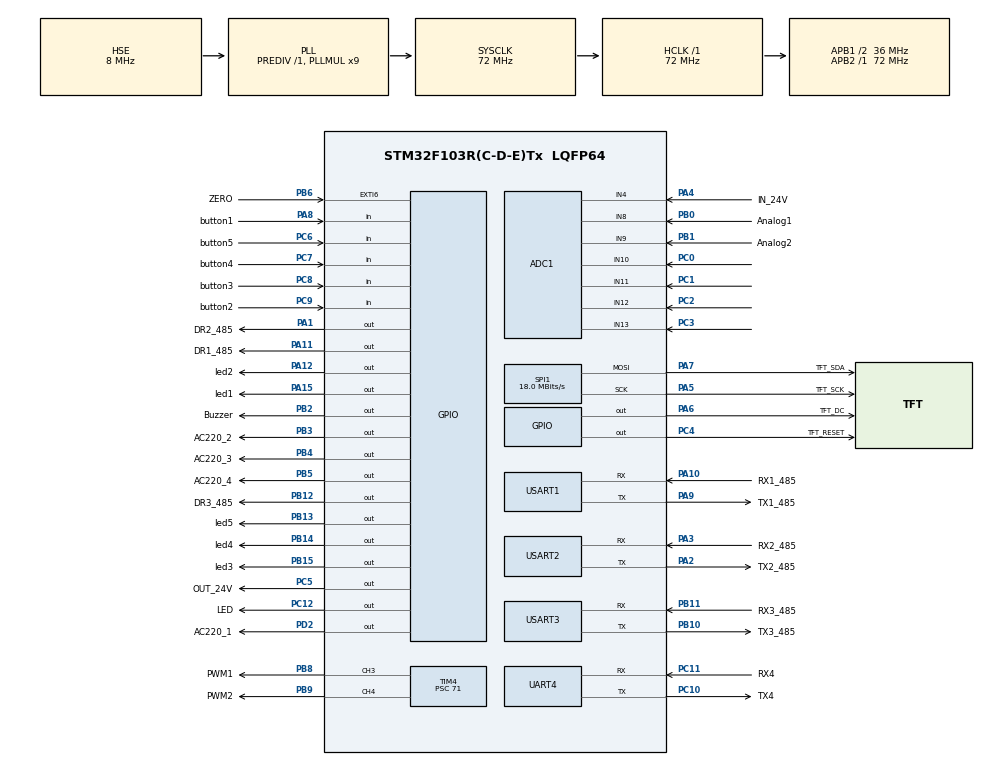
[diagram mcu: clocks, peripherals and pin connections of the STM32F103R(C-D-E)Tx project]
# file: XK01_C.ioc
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ADC1.Channel-0\#ChannelRegularConversion=ADC_CHANNEL_9
ADC1.Channel-1\#ChannelRegularConversion=ADC_CHANNEL_4
ADC1.Channel-2\#ChannelRegularConversion=ADC_CHANNEL_4
ADC1.Channel-3\#ChannelRegularConversion=ADC_CHANNEL_4
ADC1.Channel-4\#ChannelRegularConversion=ADC_CHANNEL_4
ADC1.Channel-5\#ChannelRegularConversion=ADC_CHANNEL_4
ADC1.Channel-6\#ChannelRegularConversion=ADC_CHANNEL_4
ADC1.ContinuousConvMode=DISABLE
ADC1.DiscontinuousConvMode=ENABLE
ADC1.NbrOfConversion=7
ADC1.NbrOfConversionFlag=1
ADC1.Rank-0\#ChannelRegularConversion=1
ADC1.Rank-1\#ChannelRegularConversion=2
ADC1.Rank-2\#ChannelRegularConversion=3
ADC1.Rank-3\#ChannelRegularConversion=4
ADC1.Rank-4\#ChannelRegularConversion=5
ADC1.Rank-5\#ChannelRegularConversion=6
ADC1.Rank-6\#ChannelRegularConversion=7
ADC1.SamplingTime-0\#ChannelRegularConversion=ADC_SAMPLETIME_1CYCLE_5
ADC1.SamplingTime-1\#ChannelRegularConversion=ADC_SAMPLETIME_1CYCLE_5
ADC1.SamplingTime-2\#ChannelRegularConversion=ADC_SAMPLETIME_1CYCLE_5
ADC1.SamplingTime-3\#ChannelRegularConversion=ADC_SAMPLETIME_1CYCLE_5
ADC1.SamplingTime-4\#ChannelRegularConversion=ADC_SAMPLETIME_1CYCLE_5
ADC1.SamplingTime-5\#ChannelRegularConversion=ADC_SAMPLETIME_1CYCLE_5
ADC1.SamplingTime-6\#ChannelRegularConversion=ADC_SAMPLETIME_1CYCLE_5
ADC1.master=1
Dma.Request0=SPI1_TX
Dma.SPI1_TX.0.Direction=DMA_MEMORY_TO_PERIPH
Dma.SPI1_TX.0.Instance=DMA1_Channel3
Dma.SPI1_TX.0.MemDataAlignment=DMA_MDATAALIGN_BYTE
Dma.SPI1_TX.0.MemInc=DMA_MINC_ENABLE
Dma.SPI1_TX.0.Mode=DMA_NORMAL
Dma.SPI1_TX.0.PeriphDataAlignment=DMA_PDATAALIGN_BYTE
Dma.SPI1_TX.0.PeriphInc=DMA_PINC_DISABLE
Dma.SPI1_TX.0.Priority=DMA_PRIORITY_LOW
Mcu.Family=STM32F1
Mcu.Name=STM32F103R(C-D-E)Tx
Mcu.Package=LQFP64
NVIC.ADC1_2_IRQn=true\:0\:0\:false\:false\:true\:true\:true\:true
NVIC.DMA1_Channel3_IRQn=true\:0\:0\:false\:false\:true\:false\:true\:true
NVIC.EXTI9_5_IRQn=true\:0\:0\:false\:false\:true\:true\:true\:true
NVIC.PriorityGroup=NVIC_PRIORITYGROUP_4
NVIC.SPI1_IRQn=true\:0\:0\:false\:false\:true\:true\:true\:true
NVIC.TIM5_IRQn=true\:0\:0\:false\:false\:true\:true\:true\:true
NVIC.TIM6_IRQn=true\:0\:0\:false\:false\:true\:true\:true\:true
NVIC.TIM7_IRQn=true\:0\:0\:false\:false\:true\:true\:true\:true
NVIC.UART4_IRQn=true\:0\:0\:false\:false\:true\:true\:true\:true
NVIC.USART1_IRQn=true\:0\:0\:false\:false\:true\:true\:true\:true
NVIC.USART2_IRQn=true\:0\:0\:false\:false\:true\:true\:true\:true
NVIC.USART3_IRQn=true\:0\:0\:false\:false\:true\:true\:true\:true
PA1.GPIO_Label=DR2_485
PA1.Signal=GPIO_Output
PA10.GPIO_Label=RX1_485
PA10.Mode=Asynchronous
PA10.Signal=USART1_RX
PA11.GPIO_Label=DR1_485
PA11.Signal=GPIO_Output
PA12.GPIO_Label=led2
PA12.Signal=GPIO_Output
PA13.Mode=Serial_Wire
PA13.Signal=SYS_JTMS-SWDIO
PA14.Mode=Serial_Wire
PA14.Signal=SYS_JTCK-SWCLK
PA15.GPIO_Label=led1
PA15.Signal=GPIO_Output
PA2.GPIO_Label=TX2_485
PA2.Mode=Asynchronous
PA2.Signal=USART2_TX
PA3.GPIO_Label=RX2_485
PA3.Mode=Asynchronous
PA3.Signal=USART2_RX
PA4.GPIO_Label=IN_24V
PA4.Signal=ADCx_IN4
PA5.GPIO_Label=TFT_SCK
PA5.Mode=TX_Only_Simplex_Unidirect_Master
PA5.Signal=SPI1_SCK
PA6.GPIO_Label=TFT_DC
PA6.Signal=GPIO_Output
PA7.GPIO_Label=TFT_SDA
PA7.Mode=TX_Only_Simplex_Unidirect_Master
PA7.Signal=SPI1_MOSI
PA8.GPIO_Label=button1
PA8.Signal=GPIO_Input
PA9.GPIO_Label=TX1_485
PA9.Mode=Asynchronous
PA9.Signal=USART1_TX
PB0.GPIO_Label=Analog1
PB0.Signal=ADCx_IN8
PB1.GPIO_Label=Analog2
PB1.Signal=ADCx_IN9
PB10.GPIO_Label=TX3_485
PB10.Mode=Asynchronous
PB10.Signal=USART3_TX
PB11.GPIO_Label=RX3_485
PB11.Mode=Asynchronous
PB11.Signal=USART3_RX
PB12.GPIO_Label=DR3_485
PB12.Signal=GPIO_Output
PB13.GPIO_Label=led5
PB13.Signal=GPIO_Output
PB14.GPIO_Label=led4
PB14.Signal=GPIO_Output
PB15.GPIO_Label=led3
PB15.Signal=GPIO_Output
PB2.GPIO_Label=Buzzer
PB2.Signal=GPIO_Output
PB3.GPIO_Label=AC220_2
PB3.Signal=GPIO_Output
PB4.GPIO_Label=AC220_3
PB4.Signal=GPIO_Output
PB5.GPIO_Label=AC220_4
PB5.Signal=GPIO_Output
PB6.GPIO_Label=ZERO
PB6.Signal=GPXTI6
PB8.GPIO_Label=PWM1
PB8.Signal=S_TIM4_CH3
PB9.GPIO_Label=PWM2
PB9.Signal=S_TIM4_CH4
PC0.Signal=ADCx_IN10
PC1.Signal=ADCx_IN11
PC10.GPIO_Label=TX4
PC10.Mode=Asynchronous
PC10.Signal=UART4_TX
PC11.GPIO_Label=RX4
PC11.Mode=Asynchronous
PC11.Signal=UART4_RX
PC12.GPIO_Label=LED
PC12.Signal=GPIO_Output
PC14-OSC32_IN.Mode=LSE-External-Oscillator
PC14-OSC32_IN.Signal=RCC_OSC32_IN
PC15-OSC32_OUT.Mode=LSE-External-Oscillator
PC15-OSC32_OUT.Signal=RCC_OSC32_OUT
PC2.Signal=ADCx_IN12
PC3.Signal=ADCx_IN13
PC4.GPIO_Label=TFT_RESET
PC4.Signal=GPIO_Output
PC5.GPIO_Label=OUT_24V
PC5.Signal=GPIO_Output
PC6.GPIO_Label=button5
PC6.Signal=GPIO_Input
PC7.GPIO_Label=button4
PC7.Signal=GPIO_Input
PC8.GPIO_Label=button3
PC8.Signal=GPIO_Input
PC9.GPIO_Label=button2
PC9.Signal=GPIO_Input
PD0-OSC_IN.Mode=HSE-External-Oscillator
PD0-OSC_IN.Signal=RCC_OSC_IN
PD1-OSC_OUT.Mode=HSE-External-Oscillator
PD1-OSC_OUT.Signal=RCC_OSC_OUT
PD2.GPIO_Label=AC220_1
PD2.Signal=GPIO_Output
ProjectManager.HeapSize=0x200
ProjectManager.StackSize=0x400
ProjectManager.TargetToolchain=MDK-ARM V5.32
RCC.ADCPresc=RCC_ADCPCLK2_DIV6
RCC.AHBFreq_Value=72000000
RCC.APB1CLKDivider=RCC_HCLK_DIV2
RCC.APB1Freq_Value=36000000
RCC.APB1TimFreq_Value=72000000
RCC.APB2Freq_Value=72000000
RCC.APB2TimFreq_Value=72000000
RCC.HCLKFreq_Value=72000000
RCC.PLLMUL=RCC_PLL_MUL9
RCC.PLLSourceVirtual=RCC_PLLSOURCE_HSE
RCC.SYSCLKFreq_VALUE=72000000
RCC.SYSCLKSource=RCC_SYSCLKSOURCE_PLLCLK
RCC.USBFreq_Value=72000000
SH.ADCx_IN10.0=ADC1_IN10,IN10
SH.ADCx_IN11.0=ADC1_IN11,IN11
SH.ADCx_IN12.0=ADC1_IN12,IN12
SH.ADCx_IN13.0=ADC1_IN13,IN13
SH.ADCx_IN4.0=ADC1_IN4,IN4
SH.ADCx_IN8.0=ADC1_IN8,IN8
SH.ADCx_IN9.0=ADC1_IN9,IN9
SH.S_TIM4_CH3.0=TIM4_CH3,PWM Generation3 CH3
SH.S_TIM4_CH4.0=TIM4_CH4,PWM Generation4 CH4
SPI1.BaudRatePrescaler=SPI_BAUDRATEPRESCALER_4
SPI1.CLKPolarity=SPI_POLARITY_HIGH
SPI1.CalculateBaudRate=18.0 MBits/s
SPI1.Direction=SPI_DIRECTION_2LINES
SPI1.Mode=SPI_MODE_MASTER
SPI1.VirtualType=VM_MASTER
TIM4.Channel-PWM\ Generation3\ CH3=TIM_CHANNEL_3
TIM4.Channel-PWM\ Generation4\ CH4=TIM_CHANNEL_4
TIM4.OC3Preload_PWM=DISABLE
TIM4.OC4Preload_PWM=DISABLE
TIM4.Period=1000-1
TIM4.Prescaler=71
TIM5.Period=10000-1
TIM5.Prescaler=72-1
TIM6.Period=1000-1
TIM6.Prescaler=72-1
TIM7.Period=10-1
TIM7.Prescaler=72-1
UART4.VirtualMode=Asynchronous
USART1.VirtualMode=VM_ASYNC
USART2.VirtualMode=VM_ASYNC
USART3.VirtualMode=VM_ASYNC
VP_TIM4_VS_ClockSourceINT.Mode=Internal
VP_TIM5_VS_ClockSourceINT.Mode=Internal
VP_TIM6_VS_ClockSourceINT.Mode=Enable_Timer
VP_TIM7_VS_ClockSourceINT.Mode=Enable_Timer
board=custom

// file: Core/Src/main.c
/* USER CODE BEGIN Header */
/**
  ******************************************************************************
  * @file           : main.c
  * @brief          : Main program body
  ******************************************************************************
  * @attention
  *
  * Copyright (c) 2025 STMicroelectronics.
  * All rights reserved.
  *
  * This software is licensed under terms that can be found in the LICENSE file
  * in the root directory of this software component.
  * If no LICENSE file comes with this software, it is provided AS-IS.
  *
  ******************************************************************************
  */
/* USER CODE END Header */
#include "main.h"
#include "adc.h"
#include "dma.h"
#include "spi.h"
#include "tim.h"
#include "usart.h"
#include "gpio.h"

/* USER CODE BEGIN Includes */
#include "temp.h"
#include "PWM_CRL.h"
#include "ST7789V2.h"
#include "modbus_rtu.h"
#include "POWER_CRL.h"
#include "KEY_CRL.h"
#include "GUI.h"
#include "Communication.h"

#include <stdio.h>
/* USER CODE END Includes */

void SystemClock_Config(void);

int main(void)
{

	/* MCU Configuration--------------------------------------------------------*/

	/* Reset of all peripherals, Initializes the Flash interface and the Systick. */
	HAL_Init();

	/* Configure the system clock */
	SystemClock_Config();

	/* Initialize all configured peripherals */
	MX_GPIO_Init();
	MX_DMA_Init();
	MX_ADC1_Init();
	MX_SPI1_Init();
	MX_TIM4_Init();
	MX_TIM5_Init();
	MX_TIM6_Init();
	MX_TIM7_Init();
	MX_UART4_Init();
	MX_USART1_UART_Init();
	MX_USART2_UART_Init();
	MX_USART3_UART_Init();
	/* USER CODE BEGIN 2 */
	HAL_ADCEx_Calibration_Start(&hadc1);		  //ADC校准
	HAL_TIM_Base_Start_IT(&htim5);			      //TIM5使能
	HAL_TIM_Base_Start_IT(&htim6);			      //TIM6使能
	HAL_TIM_Base_Start_IT(&htim7);			      //TIM7使能

	RS485_Init();
	LCD_Init();
	GUI_Info_Init();
	GUI_Icon_Init();

	printf("========= code start ========= \r\n");

	wait_connect();
	GUI_Icon_Init();
	/* USER CODE END 2 */

	/* Infinite loop */
	while (1)
	{
		key_scan();
		if( gui_info.power_switch == true )
		{
			Icon_Flicker();
			Modbus_Event();
			gui_info_update();
		}
	}
}

void SystemClock_Config(void)
{
	RCC_OscInitTypeDef RCC_OscInitStruct = {0};
	RCC_ClkInitTypeDef RCC_ClkInitStruct = {0};
	RCC_PeriphCLKInitTypeDef PeriphClkInit = {0};

	/** Initializes the RCC Oscillators according to the specified parameters
	 * in the RCC_OscInitTypeDef structure.
	 */
	RCC_OscInitStruct.OscillatorType = RCC_OSCILLATORTYPE_HSE;
	RCC_OscInitStruct.HSEState = RCC_HSE_ON;
	RCC_OscInitStruct.HSEPredivValue = RCC_HSE_PREDIV_DIV1;
	RCC_OscInitStruct.HSIState = RCC_HSI_ON;
	RCC_OscInitStruct.PLL.PLLState = RCC_PLL_ON;
	RCC_OscInitStruct.PLL.PLLSource = RCC_PLLSOURCE_HSE;
	RCC_OscInitStruct.PLL.PLLMUL = RCC_PLL_MUL9;
	if (HAL_RCC_OscConfig(&RCC_OscInitStruct) != HAL_OK)
	{
		Error_Handler();
	}

	/** Initializes the CPU, AHB and APB buses clocks
	 */
	RCC_ClkInitStruct.ClockType = RCC_CLOCKTYPE_HCLK|RCC_CLOCKTYPE_SYSCLK
								|RCC_CLOCKTYPE_PCLK1|RCC_CLOCKTYPE_PCLK2;
	RCC_ClkInitStruct.SYSCLKSource = RCC_SYSCLKSOURCE_PLLCLK;
	RCC_ClkInitStruct.AHBCLKDivider = RCC_SYSCLK_DIV1;
	RCC_ClkInitStruct.APB1CLKDivider = RCC_HCLK_DIV2;
	RCC_ClkInitStruct.APB2CLKDivider = RCC_HCLK_DIV1;

	if (HAL_RCC_ClockConfig(&RCC_ClkInitStruct, FLASH_LATENCY_2) != HAL_OK)
	{
		Error_Handler();
	}
	PeriphClkInit.PeriphClockSelection = RCC_PERIPHCLK_ADC;
	PeriphClkInit.AdcClockSelection = RCC_ADCPCLK2_DIV6;
	if (HAL_RCCEx_PeriphCLKConfig(&PeriphClkInit) != HAL_OK)
	{
		Error_Handler();
	}
}

/* USER CODE BEGIN 4 */
/*
  * @brief 重定向c库函数printf到USARTx
  * @retval None
*/
int fputc(int ch, FILE *f)
{
    HAL_UART_Transmit(&huart4, (uint8_t *)&ch, 1, 0xffff);
    return ch;
}

/**
  * @brief 重定向c库函数getchar,scanf到USARTx
  * @retval None
  */
int fgetc(FILE *f)
{
    uint8_t ch = 0;
    HAL_UART_Receive(&huart4, &ch, 1, 0xffff);
    return ch;
}
/* USER CODE END 4 */

void Error_Handler(void)
{
	__disable_irq();
	while (1)
	{
	}
}
